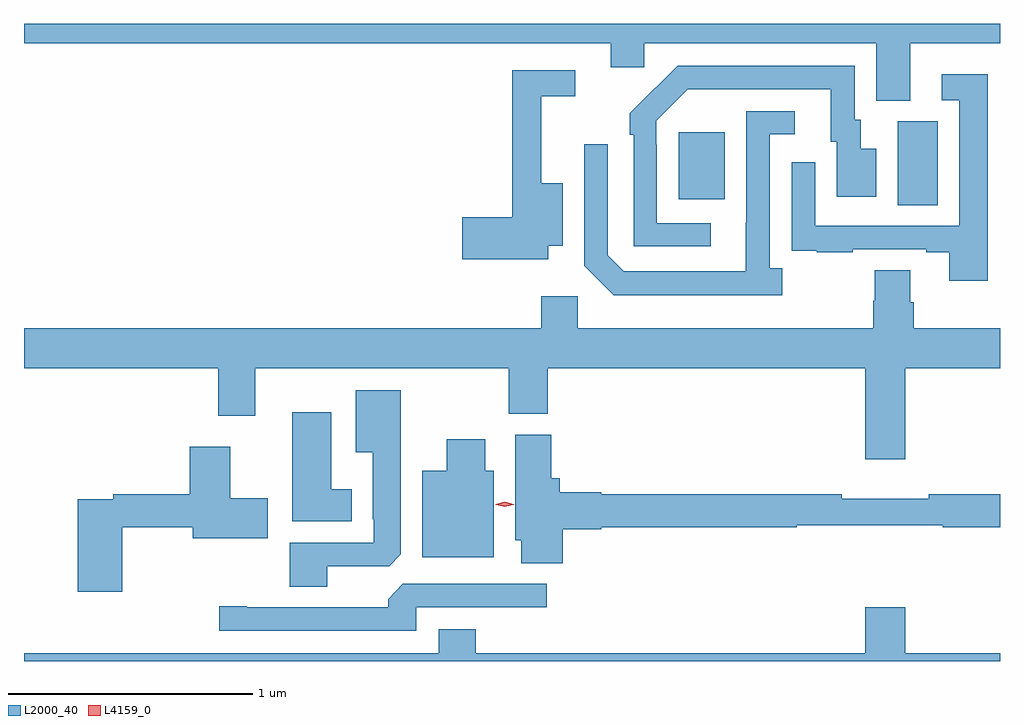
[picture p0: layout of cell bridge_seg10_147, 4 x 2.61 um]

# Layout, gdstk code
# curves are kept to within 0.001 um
import gdstk
lib = gdstk.Library(unit=1e-6, precision=1e-09)
def R(c, l, rs):  # rectangles x0, y0, x1, y1
    for r in rs: c.add(gdstk.rectangle(r[:2], r[2:], *l))
def P(c, l, *ps):  # polygons
    for p in ps: c.add(gdstk.Polygon(p, *l))
L2000_40 = (2000, 40)
L4159_0 = (4159, 0)

bridge_seg10_147 = lib.new_cell('bridge_seg10_147')
R(bridge_seg10_147, L2000_40, [(320.984,1250.368,321.148,1250.712), (320.087,1250.393,320.275,1250.668)])
P(bridge_seg10_147, L2000_40, [(321.037,1251.032),(321.404,1251.032),(321.404,1251.111),(317.404,1251.111),(317.404,1251.032),(319.808,1251.032),(319.808,1250.934),(319.947,1250.934),(319.947,1251.032),(320.897,1251.032),(320.897,1250.797),(321.037,1250.797)],
  [(320.218,1250.295),(319.998,1250.295),(319.998,1250.615),(319.995,1250.615),(319.995,1250.715),(320.124,1250.844),(320.711,1250.844),(320.711,1250.628),(320.735,1250.628),(320.735,1250.403),(320.896,1250.403),(320.896,1250.599),(320.833,1250.599),(320.833,1250.718),(320.808,1250.718),(320.808,1250.94),(320.084,1250.94),(319.887,1250.745),(319.887,1250.657),(319.902,1250.657),(319.902,1250.199),(320.218,1250.199)],
  [(319.552,1250.201),(319.612,1250.201),(319.612,1250.458),(319.523,1250.458),(319.523,1250.814),(319.663,1250.814),(319.663,1250.922),(319.405,1250.922),(319.405,1250.318),(319.2,1250.318),(319.2,1250.147),(319.552,1250.147)],
  [(321.353,1250.905),(321.165,1250.905),(321.165,1250.799),(321.237,1250.799),(321.237,1250.283),(320.646,1250.283),(320.646,1250.545),(320.55,1250.545),(320.55,1250.29),(320.551,1250.29),(320.551,1250.181),(320.653,1250.181),(320.653,1250.175),(320.801,1250.175),(320.801,1250.187),(321.101,1250.187),(321.101,1250.175),(321.197,1250.175),(321.197,1250.058),(321.353,1250.058)],
  [(320.512,1250.11),(320.46,1250.11),(320.46,1250.658),(320.563,1250.658),(320.563,1250.754),(320.364,1250.754),(320.363,1250.097),(319.863,1250.097),(319.797,1250.163),(319.797,1250.617),(319.701,1250.617),(319.701,1250.121),(319.822,1250),(320.512,1250)],
  [(321.016,1249.7),(321.404,1249.7),(321.404,1249.864),(321.05,1249.864),(321.05,1249.97),(321.037,1249.97),(321.037,1250.102),(320.89,1250.102),(320.89,1249.977),(320.885,1249.977),(320.885,1249.864),(319.674,1249.864),(319.674,1249.996),(319.523,1249.996),(319.523,1249.864),(317.404,1249.864),(317.404,1249.7),(318.2,1249.7),(318.2,1249.506),(318.352,1249.506),(318.352,1249.7),(319.39,1249.7),(319.39,1249.513),(319.55,1249.513),(319.55,1249.7),(320.852,1249.7),(320.852,1249.326),(321.016,1249.326)],
  [(318.646,1248.888),(318.9,1248.888),(318.949,1248.937),(318.949,1249.609),(318.764,1249.609),(318.764,1249.355),(318.833,1249.355),(318.833,1249.081),(318.837,1249.081),(318.837,1248.984),(318.494,1248.984),(318.494,1248.805),(318.646,1248.805)],
  [(318.748,1249.204),(318.664,1249.204),(318.664,1249.519),(318.503,1249.519),(318.503,1249.073),(318.748,1249.073)],
  [(319.613,1249.04),(319.77,1249.04),(319.77,1249.048),(320.57,1249.048),(320.57,1249.056),(321.17,1249.056),(321.17,1249.048),(321.404,1249.048),(321.404,1249.184),(321.112,1249.184),(321.112,1249.165),(320.756,1249.165),(320.756,1249.184),(319.77,1249.184),(319.77,1249.192),(319.6,1249.192),(319.6,1249.249),(319.565,1249.249),(319.565,1249.428),(319.418,1249.428),(319.418,1248.996),(319.442,1248.996),(319.442,1248.901),(319.613,1248.901)],
  [(319.33,1249.279),(319.294,1249.279),(319.294,1249.408),(319.136,1249.408),(319.136,1249.279),(319.037,1249.279),(319.037,1248.926),(319.33,1248.926)],
  [(317.807,1249.048),(318.095,1249.048),(318.095,1249.004),(318.403,1249.004),(318.403,1249.167),(318.25,1249.167),(318.25,1249.378),(318.083,1249.378),(318.083,1249.184),(317.77,1249.184),(317.77,1249.164),(317.624,1249.164),(317.624,1248.783),(317.807,1248.783)],
  [(319.011,1248.72),(319.546,1248.72),(319.546,1248.816),(318.957,1248.816),(318.896,1248.754),(318.896,1248.72),(318.316,1248.72),(318.316,1248.725),(318.204,1248.725),(318.204,1248.624),(319.011,1248.624)],
  [(321.404,1248.532),(321.016,1248.532),(321.016,1248.721),(320.852,1248.721),(320.852,1248.532),(319.256,1248.532),(319.256,1248.631),(319.103,1248.631),(319.103,1248.532),(317.404,1248.532),(317.404,1248.5),(321.404,1248.5)])
P(bridge_seg10_147, L4159_0, [(319.375,1249.132),(319.338,1249.141),(319.338,1249.142),(319.338,1249.142),(319.375,1249.152),(319.412,1249.142),(319.412,1249.142),(319.412,1249.141)])

lib.write_gds('bridge_seg10_147.gds')
